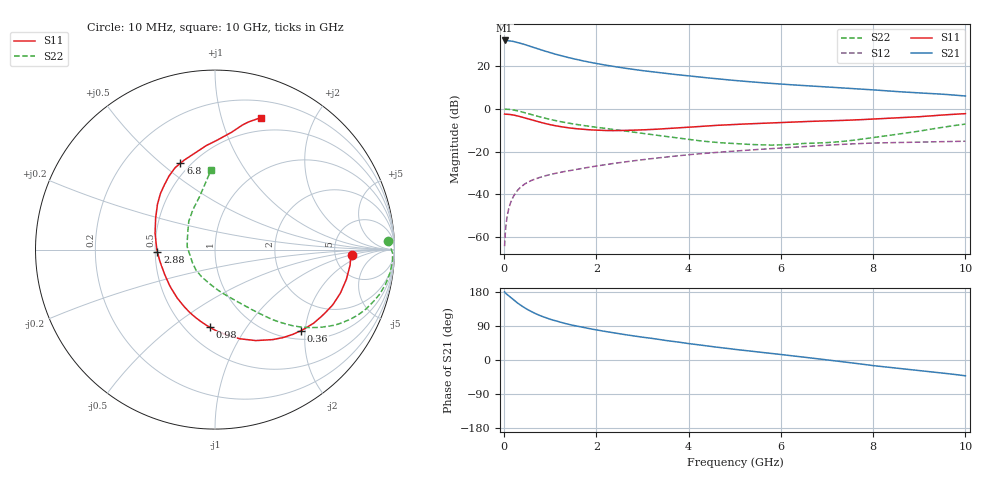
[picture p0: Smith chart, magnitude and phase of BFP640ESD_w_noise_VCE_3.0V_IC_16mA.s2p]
! Infineon Technologies  Discrete & RF Semiconductors
! BFP640ESD
! VCE =  3.0 V,  IC =  16 mA
! Common Emitter S-Parameters:  Jan 2016
# GHz  S  MA  R  50
!  f  S11  S21  S12  S22
! GHz  MAG  ANG  MAG  ANG  MAG  ANG  MAG  ANG
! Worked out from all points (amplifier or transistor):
!   233 points, 10 MHz to 10 GHz, reference 50 ohm
!   highest |S21| = 32.2 dB at 10 MHz (marker M1)
!   |S21| within 3 dB of that: start of sweep to 599.4 MHz
!   unconditionally stable (mu >= 1): 3.582 GHz to 7.843 GHz; 8.184 GHz to 8.599 GHz
!   at 200 MHz: K = 0.16, MSG = 36.4 dB, |S12| = -41.1 dB
!   at 1.74 GHz: K = 0.83, MSG = 25.1 dB, |S12| = -27.7 dB
!   at 10 GHz: K = 0.89, MSG = 10.6 dB, |S12| = -15.1 dB
!   lowest NFmin = 0.81 dB at 450 MHz
!   S11 on the Smith chart (normalised r, x): 10 MHz: 7.37, -1.00; 360 MHz: 1.19, -1.90; 980 MHz: 0.65, -0.69; 2.88 GHz: 0.51, -0.02; 6.8 GHz: 0.44, +0.58; 10 GHz: 0.36, +1.35
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0.01  0.765 -2.1  40.85 179.9  0.0006 94.7  0.966 2.9
0.02  0.7571 -2.8  40.64 177.7  0.001 89.7  0.9897 -1.1
0.05  0.7577 -6.5  40.35 174.2  0.0023 84.4  0.9906 -3.6
0.1  0.7505 -12.8  40.19 169.4  0.0046 81.7  0.9839 -7.6
0.2  0.7248 -25.1  38.73 159.0  0.0088 77.3  0.9507 -15.1
0.28  0.6923 -34.4  36.92 151.3  0.0119 73.4  0.912 -20.4
0.36  0.6583 -43.3  35.02 144.4  0.0146 69.9  0.869 -25.2
0.48  0.605 -55.2  31.91 135.1  0.0182 65.7  0.8011 -31.2
0.6  0.5548 -66.0  28.91 126.8  0.0212 62.4  0.7354 -36.0
0.8  0.4836 -81.6  24.55 116.1  0.0253 59.0  0.6431 -42.1
0.98  0.4334 -93.9  21.4 108.3  0.0286 57.3  0.576 -46.2
1.12  0.4037 -102.6  19.36 103.0  0.0309 56.4  0.5333 -48.7
1.3  0.3747 -112.9  17.18 97.0  0.0339 55.6  0.4874 -51.6
1.68  0.3354 -131.5  13.77 86.7  0.0402 54.7  0.4169 -56.4
2.2  0.3129 -153.2  10.75 75.1  0.0494 53.3  0.35 -62.5
2.88  0.3208 -177.5  8.314 62.4  0.0622 50.2  0.2778 -73.0
3.4  0.3405 167.3  7.077 53.5  0.0723 47.0  0.236 -82.8
4.3  0.393 145.7  5.557 38.7  0.0901 39.8  0.1764 -108.7
5.1  0.4399 132.9  4.589 26.8  0.1049 33.2  0.1521 -136.6
6.8  0.5184 111.8  3.396 3.2  0.1373 18.3  0.159 166.5
8.4  0.6091 89.0  2.623 -20.1  0.1626 0.6  0.2447 121.6
10  0.7798 70.7  2.025 -41.7  0.1754 -14.8  0.4437 92.9
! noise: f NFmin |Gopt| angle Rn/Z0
0.45  0.81  0.03  -4  0.09
0.9  0.83  0.01  -11  0.09
1.9  0.84  0.01  -88  0.12
2.4  0.85  0.03  -106  0.11
5.5  1.11  0.34  -116  0.13
10  1.73  0.58  -77  0.67
